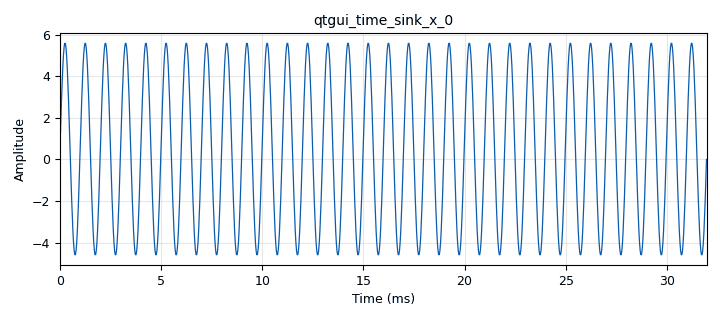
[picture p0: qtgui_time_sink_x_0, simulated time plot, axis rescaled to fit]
options:
  parameters:
    generate_options: qt_gui
    id: prueba1
    output_language: python
    title: Not titled yet
  states: {}

blocks:
- name: samp_rate
  id: variable
  parameters:
    value: '32000'
  states: {}
- name: analog_sig_source_x_0
  id: analog_sig_source_x
  parameters:
    amp: '1'
    freq: '1000'
    offset: '0'
    phase: '0'
    samp_rate: samp_rate
    type: float
    waveform: analog.GR_COS_WAVE
  states: {}
- name: epy_block_0
  id: epy_block
  parameters:
    _source_code: "import numpy as np\nfrom gnuradio import gr\n\nclass blk(gr.sync_block):\n    def __init__(self,): # only default arguments here\n        gr.sync_block.__init__(\n            self,\n            name='e_Acum', # will show up in GRC\n            in_sig=[np.float32],\n            out_sig=[np.float32,np.float32]\n        )\n          \n        self.acum_anterior=0\n          \n    def work(self, input_items, output_items):\n        x = input_items[0] # Senial de entrada.\n        y0 = output_items[0] # Senial acumulada\n        N=len(x)\n        y0[:] = self.acum_anterior+np.cumsum(x)\n        self.acum_anterior=y0[N-1]\n        return len(x)\n\n"
  states: {}
- name: qtgui_freq_sink_x_0
  id: qtgui_freq_sink_x
  parameters:
    bw: samp_rate
    fc: '0'
    fftsize: '1024'
    type: float
  states: {}
- name: qtgui_time_sink_x_0
  id: qtgui_time_sink_x
  parameters:
    size: '1024'
    srate: samp_rate
    type: float
  states: {}

connections:
- [analog_sig_source_x_0, '0', epy_block_0, '0']
- [epy_block_0, '0', qtgui_time_sink_x_0, '0']
- [epy_block_0, '1', qtgui_freq_sink_x_0, '0']

metadata:
  file_format: 1
  grc_version: 3.9.8.0
